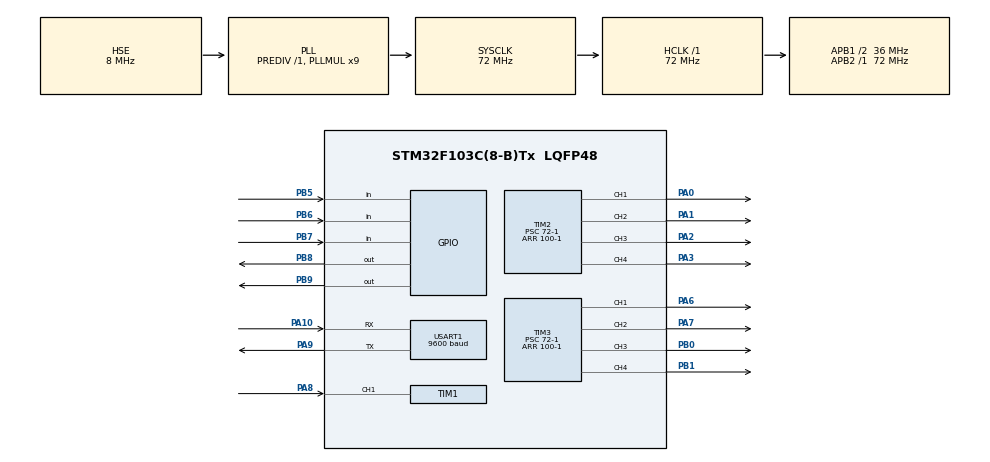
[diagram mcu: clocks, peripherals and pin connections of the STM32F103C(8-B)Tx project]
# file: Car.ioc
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Mcu.Family=STM32F1
Mcu.Name=STM32F103C(8-B)Tx
Mcu.Package=LQFP48
NVIC.PriorityGroup=NVIC_PRIORITYGROUP_4
NVIC.TIM1_CC_IRQn=true\:0\:0\:false\:false\:true\:true\:true\:true
NVIC.TIM1_UP_IRQn=true\:0\:0\:false\:false\:true\:true\:true\:true
NVIC.USART1_IRQn=true\:0\:0\:false\:false\:true\:true\:true\:true
PA0-WKUP.Signal=S_TIM2_CH1_ETR
PA1.Signal=S_TIM2_CH2
PA10.Mode=Asynchronous
PA10.Signal=USART1_RX
PA13.Mode=Serial_Wire
PA13.Signal=SYS_JTMS-SWDIO
PA14.Mode=Serial_Wire
PA14.Signal=SYS_JTCK-SWCLK
PA2.Signal=S_TIM2_CH3
PA3.Signal=S_TIM2_CH4
PA6.Signal=S_TIM3_CH1
PA7.Signal=S_TIM3_CH2
PA8.Signal=S_TIM1_CH1
PA9.Mode=Asynchronous
PA9.Signal=USART1_TX
PB0.Signal=S_TIM3_CH3
PB1.Signal=S_TIM3_CH4
PB5.GPIO_PuPd=GPIO_PULLUP
PB5.Signal=GPIO_Input
PB6.GPIO_PuPd=GPIO_PULLUP
PB6.Signal=GPIO_Input
PB7.GPIO_PuPd=GPIO_PULLUP
PB7.Signal=GPIO_Input
PB8.GPIO_ModeDefaultOutputPP=GPIO_MODE_OUTPUT_OD
PB8.GPIO_PuPd=GPIO_NOPULL
PB8.Signal=GPIO_Output
PB9.GPIO_ModeDefaultOutputPP=GPIO_MODE_OUTPUT_OD
PB9.GPIO_PuPd=GPIO_NOPULL
PB9.Signal=GPIO_Output
PD0-OSC_IN.Mode=HSE-External-Oscillator
PD0-OSC_IN.Signal=RCC_OSC_IN
PD1-OSC_OUT.Mode=HSE-External-Oscillator
PD1-OSC_OUT.Signal=RCC_OSC_OUT
ProjectManager.HeapSize=0x200
ProjectManager.StackSize=0x400
ProjectManager.TargetToolchain=MDK-ARM V5.32
RCC.AHBFreq_Value=72000000
RCC.APB1CLKDivider=RCC_HCLK_DIV2
RCC.APB1Freq_Value=36000000
RCC.APB1TimFreq_Value=72000000
RCC.APB2Freq_Value=72000000
RCC.APB2TimFreq_Value=72000000
RCC.HCLKFreq_Value=72000000
RCC.PLLMUL=RCC_PLL_MUL9
RCC.PLLSourceVirtual=RCC_PLLSOURCE_HSE
RCC.SYSCLKFreq_VALUE=72000000
RCC.SYSCLKSource=RCC_SYSCLKSOURCE_PLLCLK
RCC.USBFreq_Value=72000000
SH.S_TIM1_CH1.0=TIM1_CH1,Input_Capture1_from_TI1
SH.S_TIM2_CH1_ETR.0=TIM2_CH1,PWM Generation1 CH1
SH.S_TIM2_CH2.0=TIM2_CH2,PWM Generation2 CH2
SH.S_TIM2_CH3.0=TIM2_CH3,PWM Generation3 CH3
SH.S_TIM2_CH4.0=TIM2_CH4,PWM Generation4 CH4
SH.S_TIM3_CH1.0=TIM3_CH1,PWM Generation1 CH1
SH.S_TIM3_CH2.0=TIM3_CH2,PWM Generation2 CH2
SH.S_TIM3_CH3.0=TIM3_CH3,PWM Generation3 CH3
SH.S_TIM3_CH4.0=TIM3_CH4,PWM Generation4 CH4
TIM1.Channel-Input_Capture1_from_TI1=TIM_CHANNEL_1
TIM1.ICFilter_CH1=4
TIM1.Period=10000-1
TIM1.Prescaler=7200-1
TIM2.Channel-PWM\ Generation1\ CH1=TIM_CHANNEL_1
TIM2.Channel-PWM\ Generation2\ CH2=TIM_CHANNEL_2
TIM2.Channel-PWM\ Generation3\ CH3=TIM_CHANNEL_3
TIM2.Channel-PWM\ Generation4\ CH4=TIM_CHANNEL_4
TIM2.Period=100-1
TIM2.Prescaler=72-1
TIM3.Channel-PWM\ Generation1\ CH1=TIM_CHANNEL_1
TIM3.Channel-PWM\ Generation2\ CH2=TIM_CHANNEL_2
TIM3.Channel-PWM\ Generation3\ CH3=TIM_CHANNEL_3
TIM3.Channel-PWM\ Generation4\ CH4=TIM_CHANNEL_4
TIM3.Period=100-1
TIM3.Prescaler=72-1
USART1.BaudRate=9600
USART1.VirtualMode=VM_ASYNC
VP_TIM1_VS_ClockSourceINT.Mode=Internal
VP_TIM2_VS_ClockSourceINT.Mode=Internal
VP_TIM3_VS_ClockSourceINT.Mode=Internal
board=custom

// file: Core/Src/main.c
/* USER CODE BEGIN Header */
/**
  ******************************************************************************
  * @file           : main.c
  * @brief          : Main program body
  ******************************************************************************
  * @attention
  *
  * Copyright (c) 2024 STMicroelectronics.
  * All rights reserved.
  *
  * This software is licensed under terms that can be found in the LICENSE file
  * in the root directory of this software component.
  * If no LICENSE file comes with this software, it is provided AS-IS.
  *
  ******************************************************************************
  */
/* USER CODE END Header */
#include "main.h"
#include "tim.h"
#include "usart.h"
#include "gpio.h"

void SystemClock_Config(void);

/* USER CODE BEGIN 0 */
/* 寻迹 */
void Trailing(void)
{
		uint8_t State = Track_State();

		if (State == 'l')
		{
			Car_Right(50);
		}
		else if (State == 'r')
		{
			Car_Left(50);
		}
		else
		{
			Car_Forward(100);
		}
}
/* SPEED */
void Velocity_Measurement(void)
{
	OLED_Printf(0, 0, 8, "AngleSpeed:%4.1f", Angle_Speed);
	OLED_Printf(0, 16, 8, "Speed:%4.1f", Speed);
	OLED_Printf(0, 32, 8, "Count:%4d", DirectBeam_Count);
	OLED_Update();

}

/* USER CODE END 0 */

int main(void)
{

  /* MCU Configuration--------------------------------------------------------*/

  /* Reset of all peripherals, Initializes the Flash interface and the Systick. */
  HAL_Init();

  /* Configure the system clock */
  SystemClock_Config();

  /* Initialize all configured peripherals */
  MX_GPIO_Init();
  MX_TIM2_Init();
  MX_TIM3_Init();
  MX_USART1_UART_Init();
  MX_TIM1_Init();
  /* USER CODE BEGIN 2 */
	OLED_Init();
	Car_Init();
	HC06_Init();
	DirectBeam_Init();
  /* USER CODE END 2 */

  /* Infinite loop */
  /* USER CODE BEGIN WHILE */
  while (1)
  {
//		Trailing();
		Velocity_Measurement();
    /* USER CODE END WHILE */

  }
}

void SystemClock_Config(void)
{
  RCC_OscInitTypeDef RCC_OscInitStruct = {0};
  RCC_ClkInitTypeDef RCC_ClkInitStruct = {0};

  /** Initializes the RCC Oscillators according to the specified parameters
  * in the RCC_OscInitTypeDef structure.
  */
  RCC_OscInitStruct.OscillatorType = RCC_OSCILLATORTYPE_HSE;
  RCC_OscInitStruct.HSEState = RCC_HSE_ON;
  RCC_OscInitStruct.HSEPredivValue = RCC_HSE_PREDIV_DIV1;
  RCC_OscInitStruct.HSIState = RCC_HSI_ON;
  RCC_OscInitStruct.PLL.PLLState = RCC_PLL_ON;
  RCC_OscInitStruct.PLL.PLLSource = RCC_PLLSOURCE_HSE;
  RCC_OscInitStruct.PLL.PLLMUL = RCC_PLL_MUL9;
  if (HAL_RCC_OscConfig(&RCC_OscInitStruct) != HAL_OK)
  {
    Error_Handler();
  }

  /** Initializes the CPU, AHB and APB buses clocks
  */
  RCC_ClkInitStruct.ClockType = RCC_CLOCKTYPE_HCLK|RCC_CLOCKTYPE_SYSCLK
                              |RCC_CLOCKTYPE_PCLK1|RCC_CLOCKTYPE_PCLK2;
  RCC_ClkInitStruct.SYSCLKSource = RCC_SYSCLKSOURCE_PLLCLK;
  RCC_ClkInitStruct.AHBCLKDivider = RCC_SYSCLK_DIV1;
  RCC_ClkInitStruct.APB1CLKDivider = RCC_HCLK_DIV2;
  RCC_ClkInitStruct.APB2CLKDivider = RCC_HCLK_DIV1;

  if (HAL_RCC_ClockConfig(&RCC_ClkInitStruct, FLASH_LATENCY_2) != HAL_OK)
  {
    Error_Handler();
  }
}

void Error_Handler(void)
{
  __disable_irq();
  while (1)
  {
  }
}
